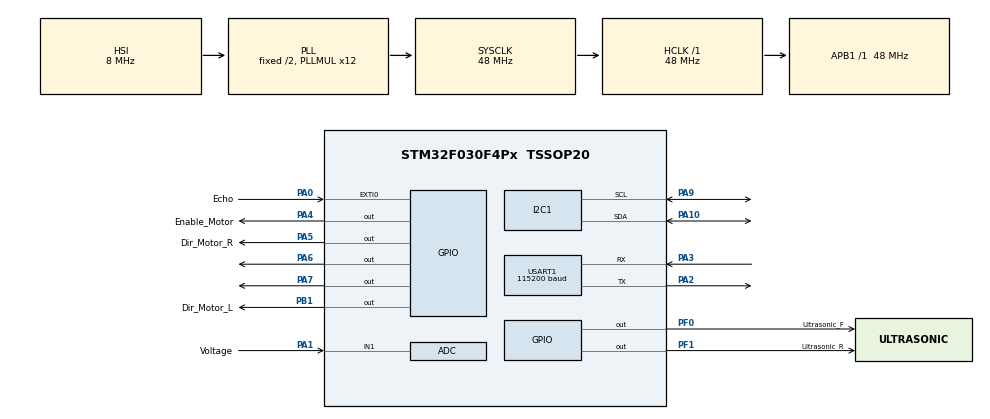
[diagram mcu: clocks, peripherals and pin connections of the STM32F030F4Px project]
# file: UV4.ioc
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ADC.Channel=ADC_CHANNEL_1
ADC.Channel-0\#ChannelRegularConversion=ADC_CHANNEL_1
ADC.DiscontinuousConvMode=ENABLE
I2C1.I2C_Speed_Mode-I2C=I2C_Fast
I2C1.OwnAddress=0x00
I2C1.Timing-I2C=0x0000020B
Mcu.Family=STM32F0
Mcu.Name=STM32F030F4Px
Mcu.Package=TSSOP20
NVIC.EXTI0_1_IRQn=true\:0\:0\:false
NVIC.TIM14_IRQn=true\:1\:0\:true
NVIC.TIM16_IRQn=true\:2\:0\:true
NVIC.TIM3_IRQn=true\:1\:0\:true
NVIC.USART1_IRQn=true\:1\:0\:true
PA0.GPIO_Label=Echo
PA0.GPIO_ModeDefaultEXTI=GPIO_MODE_IT_RISING_FALLING
PA0.GPIO_PuPd=GPIO_NOPULL
PA0.Signal=GPXTI0
PA1.GPIO_Label=Voltage
PA1.GPIO_Mode=GPIO_MODE_ANALOG
PA1.GPIO_PuPd=GPIO_NOPULL
PA1.Mode=IN1
PA1.Signal=ADC_IN1
PA10.Mode=I2C
PA10.Signal=I2C1_SDA
PA13.Mode=Serial-WireDebug
PA13.Signal=SYS_SWDIO
PA14.Mode=Serial-WireDebug
PA14.Signal=SYS_SWCLK
PA2.Mode=Asynchronous
PA2.Signal=USART1_TX
PA3.Mode=Asynchronous
PA3.Signal=USART1_RX
PA4.GPIO_Label=Enable_Motor
PA4.GPIO_ModeDefaultOutputPP=GPIO_MODE_OUTPUT_PP
PA4.GPIO_PuPd=GPIO_NOPULL
PA4.GPIO_Speed=GPIO_SPEED_LOW
PA4.Signal=GPIO_Output
PA5.GPIO_Label=Dir_Motor_R
PA5.GPIO_ModeDefaultOutputPP=GPIO_MODE_OUTPUT_PP
PA5.GPIO_PuPd=GPIO_NOPULL
PA5.GPIO_Speed=GPIO_SPEED_LOW
PA5.Signal=GPIO_Output
PA6.Signal=GPIO_Output
PA7.Signal=GPIO_Output
PA9.Mode=I2C
PA9.Signal=I2C1_SCL
PB1.GPIO_Label=Dir_Motor_L
PB1.GPIO_ModeDefaultOutputPP=GPIO_MODE_OUTPUT_PP
PB1.GPIO_PuPd=GPIO_NOPULL
PB1.GPIO_Speed=GPIO_SPEED_LOW
PB1.Signal=GPIO_Output
PF0-OSC_IN.GPIO_Label=Ultrasonic_F
PF0-OSC_IN.GPIO_ModeDefaultOutputPP=GPIO_MODE_OUTPUT_PP
PF0-OSC_IN.GPIO_PuPd=GPIO_NOPULL
PF0-OSC_IN.GPIO_Speed=GPIO_SPEED_LOW
PF0-OSC_IN.Signal=GPIO_Output
PF1-OSC_OUT.GPIO_Label=Ultrasonic_R
PF1-OSC_OUT.GPIO_ModeDefaultOutputPP=GPIO_MODE_OUTPUT_PP
PF1-OSC_OUT.GPIO_PuPd=GPIO_NOPULL
PF1-OSC_OUT.GPIO_Speed=GPIO_SPEED_LOW
PF1-OSC_OUT.Signal=GPIO_Output
ProjectManager.TargetToolchain=MDK-ARM 4.73
RCC.AHBFreq_Value=48000000
RCC.APB1Freq_Value=48000000
RCC.APB1TimFreq_Value=48000000
RCC.HCLKFreq_Value=48000000
RCC.PLLMUL=RCC_PLL_MUL12
RCC.SYSCLKFreq_VALUE=48000000
RCC.SYSCLKSource=RCC_SYSCLKSOURCE_PLLCLK
RCC.Usart1ClockSelection=RCC_USART1CLKSOURCE_HSI
TIM14.Period=65535
TIM14.Prescaler=239
TIM14.Pulse-PWM\ Generation1\ CH1=1001
TIM16.Period=499
TIM16.Prescaler=479
TIM17.Period=0xffff
TIM17.Prescaler=47
TIM3.Period=65535
TIM3.Prescaler=239
USART1.BaudRate=115200
VP_ADC_TempSens_Input.Mode=IN-TempSens
VP_TIM14_VS_ClockSourceINT.Mode=Enable_Timer
VP_TIM16_VS_ClockSourceINT.Mode=Enable_Timer
VP_TIM17_VS_ClockSourceINT.Mode=Enable_Timer
VP_TIM3_VS_OPM.Mode=OPM_bit

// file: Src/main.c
/**
  ******************************************************************************
  * File Name          : main.c
  * Date               : 11/01/2015 03:58:20
  * Description        : Main program body
  ******************************************************************************
  *
  * COPYRIGHT(c) 2015 STMicroelectronics
  *
  * Redistribution and use in source and binary forms, with or without modification,
  * are permitted provided that the following conditions are met:
  *   1. Redistributions of source code must retain the above copyright notice,
  *      this list of conditions and the following disclaimer.
  *   2. Redistributions in binary form must reproduce the above copyright notice,
  *      this list of conditions and the following disclaimer in the documentation
  *      and/or other materials provided with the distribution.
  *   3. Neither the name of STMicroelectronics nor the names of its contributors
  *      may be used to endorse or promote products derived from this software
  *      without specific prior written permission.
  *
  * THIS SOFTWARE IS PROVIDED BY THE COPYRIGHT HOLDERS AND CONTRIBUTORS "AS IS"
  * AND ANY EXPRESS OR IMPLIED WARRANTIES, INCLUDING, BUT NOT LIMITED TO, THE
  * IMPLIED WARRANTIES OF MERCHANTABILITY AND FITNESS FOR A PARTICULAR PURPOSE ARE
  * DISCLAIMED. IN NO EVENT SHALL THE COPYRIGHT HOLDER OR CONTRIBUTORS BE LIABLE
  * FOR ANY DIRECT, INDIRECT, INCIDENTAL, SPECIAL, EXEMPLARY, OR CONSEQUENTIAL
  * DAMAGES (INCLUDING, BUT NOT LIMITED TO, PROCUREMENT OF SUBSTITUTE GOODS OR
  * SERVICES; LOSS OF USE, DATA, OR PROFITS; OR BUSINESS INTERRUPTION) HOWEVER
  * CAUSED AND ON ANY THEORY OF LIABILITY, WHETHER IN CONTRACT, STRICT LIABILITY,
  * OR TORT (INCLUDING NEGLIGENCE OR OTHERWISE) ARISING IN ANY WAY OUT OF THE USE
  * OF THIS SOFTWARE, EVEN IF ADVISED OF THE POSSIBILITY OF SUCH DAMAGE.
  *
  ******************************************************************************
  */

#include "stm32f0xx_hal.h"

/* USER CODE BEGIN Includes */
#include <stdio.h>
#include "MPU6050.h"
#include <math.h>

#define start_angle                 0.1     // degree
#define limit_angle                 30    // degree
#define limit_speed                 100    // cm/s
#define limit_compensate_angle      15    // degree

#define beta                        0.1f
#define ACCELEROMETER_SENSITIVITY   16384.0f
#define GYROSCOPE_SENSITIVITY       0.007629510948f    // 1/131.07f
#define M_PI                        3.14159265359f

#define clock_cnt                   100000.0f
#define dt                          0.005f
#define sampling                    200

#define inv_cm2pulse                0.006675883837f

#define data2voltage                0.00332992f
#define deg2rad                     0.0174532925f
#define rad2deg                     57.29577951f
#define gx_diff                     34    // x axis gyro diff
#define gy_diff                     41    // y axis gyro diff
#define gz_diff                     156   // z axis gyro diff

/* USER CODE END Includes */

ADC_HandleTypeDef hadc;

I2C_HandleTypeDef hi2c1;

TIM_HandleTypeDef htim3;
TIM_HandleTypeDef htim14;
TIM_HandleTypeDef htim16;
TIM_HandleTypeDef htim17;

UART_HandleTypeDef huart1;

/* USER CODE BEGIN PV */

float debug;

float Battery_voltage = 12;   // assume full battery
float front_distance = 100;   // assume no obstacle
float rear_distance = 100;    // assume no obstacle
uint8_t sr_04_channel = 0;    // 0 = front, 1 = rear
uint8_t echo_status = 0;   // prevent tim17 over flow

int8_t raw_data_uart[10] = {0};
int8_t ch1, ch2, ch3, ch4;
int8_t uart_watchdog = 0;

int16_t AccelGyro[6] = {0};
float q1=1, q2=0, q3=0, q4=0;
float L_R_ref_filted ;

// state//
float angle = 0;
float angle_dot = 0;
float velocity = 0;
float position = 0;

float force = 0;

float ref_angle = 0;
float ref_angle_dot = 0;
float ref_x = 0;
float ref_x_dot = 1;

float L_R_ref = 0;

float lqr_angle = 0;
float lqr_angle_dot = 0;
float lqr_x = 0;
float lqr_x_dot = 0;

float error = 0;
float error_sum = 0;
float kp = 2;
float ki = 0;

//float k1 = 1.1686;  // 2nd version
//float k2 = 1.5301;
//float k3 = 0.1791;
//float k4 = 0.1715;

float  k1 = 1.6227;  // 2nd version
float  k2 = 1.7544;
float  k3 = 0;
float  k4 = 0;

/* USER CODE END PV */

void SystemClock_Config(void);
static void MX_GPIO_Init(void);
static void MX_ADC_Init(void);
static void MX_I2C1_Init(void);
static void MX_TIM3_Init(void);
static void MX_TIM14_Init(void);
static void MX_TIM16_Init(void);
static void MX_TIM17_Init(void);
static void MX_USART1_UART_Init(void);

/* USER CODE BEGIN PFP */

void Initial_MPU6050(void);
void read_mpu6050(void);
void MPU6050_WriteBits(uint8_t slaveAddr, uint8_t regAddr, uint8_t bitStart, uint8_t length, uint8_t data);
void MPU6050_WriteBit(uint8_t slaveAddr, uint8_t regAddr, uint8_t bitNum, uint8_t data);
void MPU6050_ReadBits(uint8_t slaveAddr, uint8_t regAddr, uint8_t bitStart, uint8_t length, uint8_t *data);
void MPU6050_ReadBit(uint8_t slaveAddr, uint8_t regAddr, uint8_t bitNum, uint8_t *data);
void MPU6050_GetRawAccelGyro(int16_t* AccelGyro);
void Ahrs(void);
void A4988_driver_state(FunctionalState tmp);
void A4988_driver_output(float velocity_mL_tmp, float velocity_mR_tmp);
float Smooth_filter(float alfa, float new_data, float prev_data);
void SR_04_measuring(void);
void Mesuaring_batt(void);
void Sampling_isr(void);

void Print_BLE(void);
void Print_Debug(void);

/* USER CODE END PFP */

int main(void)
{

  /* MCU Configuration----------------------------------------------------------*/

  /* Reset of all peripherals, Initializes the Flash interface and the Systick. */
  HAL_Init();

  /* Configure the system clock */
  SystemClock_Config();

  /* Initialize all configured peripherals */
  MX_GPIO_Init();
  MX_ADC_Init();
  MX_I2C1_Init();
  MX_TIM3_Init();
  MX_TIM14_Init();
  MX_TIM16_Init();
  MX_TIM17_Init();
  MX_USART1_UART_Init();

  /* USER CODE BEGIN 2 */

  A4988_driver_state(DISABLE);    // disable step motor driver

  HAL_TIM_Base_Start_IT(&htim3);
  HAL_TIM_Base_Start_IT(&htim14);

  HAL_TIM_Base_Start(&htim17);   // start iuput capture for SR-04 module

  Initial_MPU6050();    // initial mpu6050 with DLPF 98 Hz

  A4988_driver_state(DISABLE);    // disable step motor driver

  /* USER CODE END 2 */

  /* USER CODE BEGIN 3 */

  HAL_TIM_Base_Start_IT(&htim16);   // start controller sampling

  /* Infinite loop */
  while (1)
  {
    SR_04_measuring();    // mesuaring disrance
    Mesuaring_batt();   // mesuaring battary voltage

    if (uart_watchdog != 0)
    {
      lqr_x_dot = (float)ch2 * 0.4f;
      L_R_ref = (float)ch1 * 0.04f;
    }
    else
    {
      lqr_x_dot = 0;
      L_R_ref = 0;
    }

    if (uart_watchdog > 0) uart_watchdog --;
    HAL_UART_Receive_IT(&huart1, (uint8_t *)raw_data_uart, 10);   // receive data
    HAL_Delay(20);    // dely for 50Hz
  }
  /* USER CODE END 3 */

}

/** System Clock Configuration
*/
void SystemClock_Config(void)
{

  RCC_OscInitTypeDef RCC_OscInitStruct;
  RCC_ClkInitTypeDef RCC_ClkInitStruct;
  RCC_PeriphCLKInitTypeDef PeriphClkInit;

  RCC_OscInitStruct.OscillatorType = RCC_OSCILLATORTYPE_HSI|RCC_OSCILLATORTYPE_HSI14;
  RCC_OscInitStruct.HSIState = RCC_HSI_ON;
  RCC_OscInitStruct.HSI14State = RCC_HSI14_ON;
  RCC_OscInitStruct.HSICalibrationValue = 16;
  RCC_OscInitStruct.HSI14CalibrationValue = 16;
  RCC_OscInitStruct.PLL.PLLState = RCC_PLL_ON;
  RCC_OscInitStruct.PLL.PLLSource = RCC_PLLSOURCE_HSI;
  RCC_OscInitStruct.PLL.PLLMUL = RCC_PLL_MUL12;
  RCC_OscInitStruct.PLL.PREDIV = RCC_PREDIV_DIV1;
  HAL_RCC_OscConfig(&RCC_OscInitStruct);

  RCC_ClkInitStruct.ClockType = RCC_CLOCKTYPE_SYSCLK;
  RCC_ClkInitStruct.SYSCLKSource = RCC_SYSCLKSOURCE_PLLCLK;
  RCC_ClkInitStruct.AHBCLKDivider = RCC_SYSCLK_DIV1;
  RCC_ClkInitStruct.APB1CLKDivider = RCC_HCLK_DIV1;
  HAL_RCC_ClockConfig(&RCC_ClkInitStruct, FLASH_LATENCY_1);

  PeriphClkInit.PeriphClockSelection = RCC_PERIPHCLK_USART1|RCC_PERIPHCLK_I2C1;
  PeriphClkInit.Usart1ClockSelection = RCC_USART1CLKSOURCE_HSI;
  PeriphClkInit.I2c1ClockSelection = RCC_I2C1CLKSOURCE_HSI;
  HAL_RCCEx_PeriphCLKConfig(&PeriphClkInit);

  __SYSCFG_CLK_ENABLE();

}

/* ADC init function */
void MX_ADC_Init(void)
{

  ADC_ChannelConfTypeDef sConfig;

    /**Configure the global features of the ADC (Clock, Resolution, Data Alignment and number of conversion)
    */
  hadc.Instance = ADC1;
  hadc.Init.ClockPrescaler = ADC_CLOCK_ASYNC;
  hadc.Init.Resolution = ADC_RESOLUTION12b;
  hadc.Init.DataAlign = ADC_DATAALIGN_RIGHT;
  hadc.Init.ScanConvMode = ADC_SCAN_DIRECTION_FORWARD;
  hadc.Init.EOCSelection = EOC_SINGLE_CONV;
  hadc.Init.LowPowerAutoWait = DISABLE;
  hadc.Init.LowPowerAutoPowerOff = DISABLE;
  hadc.Init.ContinuousConvMode = DISABLE;
  hadc.Init.DiscontinuousConvMode = ENABLE;
  hadc.Init.ExternalTrigConvEdge = ADC_EXTERNALTRIGCONVEDGE_NONE;
  hadc.Init.DMAContinuousRequests = DISABLE;
  hadc.Init.Overrun = OVR_DATA_PRESERVED;
  HAL_ADC_Init(&hadc);

    /**Configure for the selected ADC regular channel to be converted.
    */
  sConfig.Channel = ADC_CHANNEL_1;
  sConfig.Rank = 1;
  sConfig.SamplingTime = ADC_SAMPLETIME_1CYCLE_5;
  HAL_ADC_ConfigChannel(&hadc, &sConfig);

}

/* I2C1 init function */
void MX_I2C1_Init(void)
{

  hi2c1.Instance = I2C1;
  hi2c1.Init.Timing = 0x0000020B;
  hi2c1.Init.OwnAddress1 = 0;
  hi2c1.Init.AddressingMode = I2C_ADDRESSINGMODE_7BIT;
  hi2c1.Init.DualAddressMode = I2C_DUALADDRESS_DISABLED;
  hi2c1.Init.OwnAddress2 = 0;
  hi2c1.Init.OwnAddress2Masks = I2C_OA2_NOMASK;
  hi2c1.Init.GeneralCallMode = I2C_GENERALCALL_DISABLED;
  hi2c1.Init.NoStretchMode = I2C_NOSTRETCH_DISABLED;
  HAL_I2C_Init(&hi2c1);

    /**Configure Analogue filter
    */
  HAL_I2CEx_AnalogFilter_Config(&hi2c1, I2C_ANALOGFILTER_ENABLED);

}

/* TIM3 init function */
void MX_TIM3_Init(void)
{

  htim3.Instance = TIM3;
  htim3.Init.Prescaler = 239;
  htim3.Init.CounterMode = TIM_COUNTERMODE_UP;
  htim3.Init.Period = 65535;
  htim3.Init.ClockDivision = TIM_CLOCKDIVISION_DIV1;
  HAL_TIM_Base_Init(&htim3);

}

/* TIM14 init function */
void MX_TIM14_Init(void)
{

  htim14.Instance = TIM14;
  htim14.Init.Prescaler = 239;
  htim14.Init.CounterMode = TIM_COUNTERMODE_UP;
  htim14.Init.Period = 65535;
  htim14.Init.ClockDivision = TIM_CLOCKDIVISION_DIV1;
  HAL_TIM_Base_Init(&htim14);

}

/* TIM16 init function */
void MX_TIM16_Init(void)
{

  htim16.Instance = TIM16;
  htim16.Init.Prescaler = 479;
  htim16.Init.CounterMode = TIM_COUNTERMODE_UP;
  htim16.Init.Period = 499;
  htim16.Init.ClockDivision = TIM_CLOCKDIVISION_DIV1;
  htim16.Init.RepetitionCounter = 0;
  HAL_TIM_Base_Init(&htim16);

}

/* TIM17 init function */
void MX_TIM17_Init(void)
{

  htim17.Instance = TIM17;
  htim17.Init.Prescaler = 47;
  htim17.Init.CounterMode = TIM_COUNTERMODE_UP;
  htim17.Init.Period = 0xffff;
  htim17.Init.ClockDivision = TIM_CLOCKDIVISION_DIV1;
  htim17.Init.RepetitionCounter = 0;
  HAL_TIM_Base_Init(&htim17);

}

/* USART1 init function */
void MX_USART1_UART_Init(void)
{

  huart1.Instance = USART1;
  huart1.Init.BaudRate = 9600;
  huart1.Init.WordLength = UART_WORDLENGTH_8B;
  huart1.Init.StopBits = UART_STOPBITS_1;
  huart1.Init.Parity = UART_PARITY_NONE;
  huart1.Init.Mode = UART_MODE_TX_RX;
  huart1.Init.HwFlowCtl = UART_HWCONTROL_NONE;
  huart1.Init.OverSampling = UART_OVERSAMPLING_16;
  huart1.Init.OneBitSampling = UART_ONEBIT_SAMPLING_DISABLED ;
  huart1.AdvancedInit.AdvFeatureInit = UART_ADVFEATURE_NO_INIT;
  HAL_UART_Init(&huart1);

}

/** Configure pins as
        * Analog
        * Input
        * Output
        * EVENT_OUT
        * EXTI
*/
void MX_GPIO_Init(void)
{

  GPIO_InitTypeDef GPIO_InitStruct;

  /* GPIO Ports Clock Enable */
  __GPIOF_CLK_ENABLE();
  __GPIOA_CLK_ENABLE();
  __GPIOB_CLK_ENABLE();

  /*Configure GPIO pins : PF0 PF1 */
  GPIO_InitStruct.Pin = GPIO_PIN_0|GPIO_PIN_1;
  GPIO_InitStruct.Mode = GPIO_MODE_OUTPUT_PP;
  GPIO_InitStruct.Pull = GPIO_NOPULL;
  GPIO_InitStruct.Speed = GPIO_SPEED_LOW;
  HAL_GPIO_Init(GPIOF, &GPIO_InitStruct);

  /*Configure GPIO pin : PA0 */
  GPIO_InitStruct.Pin = GPIO_PIN_0;
  GPIO_InitStruct.Mode = GPIO_MODE_IT_RISING_FALLING;
  GPIO_InitStruct.Pull = GPIO_NOPULL;
  HAL_GPIO_Init(GPIOA, &GPIO_InitStruct);

  /*Configure GPIO pins : PA4 PA5 PA6 PA7 */
  GPIO_InitStruct.Pin = GPIO_PIN_4|GPIO_PIN_5|GPIO_PIN_6|GPIO_PIN_7;
  GPIO_InitStruct.Mode = GPIO_MODE_OUTPUT_PP;
  GPIO_InitStruct.Pull = GPIO_NOPULL;
  GPIO_InitStruct.Speed = GPIO_SPEED_LOW;
  HAL_GPIO_Init(GPIOA, &GPIO_InitStruct);

  /*Configure GPIO pin : PB1 */
  GPIO_InitStruct.Pin = GPIO_PIN_1;
  GPIO_InitStruct.Mode = GPIO_MODE_OUTPUT_PP;
  GPIO_InitStruct.Pull = GPIO_NOPULL;
  GPIO_InitStruct.Speed = GPIO_SPEED_LOW;
  HAL_GPIO_Init(GPIOB, &GPIO_InitStruct);

  /* EXTI interrupt init*/
  HAL_NVIC_SetPriority(EXTI0_1_IRQn, 0, 0);
  HAL_NVIC_EnableIRQ(EXTI0_1_IRQn);

}

/* USER CODE BEGIN 4 */

void Initial_MPU6050(void)
{
  HAL_Delay(100); // for stability
  //    Reset to defalt
  MPU6050_WriteBit(MPU6050_DEFAULT_ADDRESS, MPU6050_RA_PWR_MGMT_1, MPU6050_PWR1_DEVICE_RESET_BIT, ENABLE);

  //	  SetClockSource(MPU6050_CLOCK_PLL_XGYRO)
  MPU6050_WriteBits(MPU6050_DEFAULT_ADDRESS, MPU6050_RA_PWR_MGMT_1, MPU6050_PWR1_CLKSEL_BIT, MPU6050_PWR1_CLKSEL_LENGTH, MPU6050_CLOCK_PLL_XGYRO);

  //    SetFullScaleGyroRange(MPU6050_GYRO_FS_250)
  MPU6050_WriteBits(MPU6050_DEFAULT_ADDRESS, MPU6050_RA_GYRO_CONFIG, MPU6050_GCONFIG_FS_SEL_BIT, MPU6050_GCONFIG_FS_SEL_LENGTH, MPU6050_GYRO_FS_250);

  //    SetFullScaleAccelRange(MPU6050_ACCEL_FS_2)
  MPU6050_WriteBits(MPU6050_DEFAULT_ADDRESS, MPU6050_RA_GYRO_CONFIG, MPU6050_GCONFIG_FS_SEL_BIT, MPU6050_GCONFIG_FS_SEL_LENGTH, MPU6050_ACCEL_FS_2);

  //    interupt(Enable)
  MPU6050_WriteBit(MPU6050_DEFAULT_ADDRESS, MPU6050_RA_INT_ENABLE, MPU6050_INTERRUPT_DATA_RDY_BIT, ENABLE);

  //		SetDLPF(MPU6050_DLPF_BW_5)
  MPU6050_WriteBits(MPU6050_DEFAULT_ADDRESS, MPU6050_RA_CONFIG, MPU6050_CFG_DLPF_CFG_BIT, MPU6050_CFG_DLPF_CFG_LENGTH, MPU6050_DLPF_BW_42);

  //    SetSleepModeStatus(DISABLE)
  MPU6050_WriteBit(MPU6050_DEFAULT_ADDRESS, MPU6050_RA_PWR_MGMT_1, MPU6050_PWR1_SLEEP_BIT, DISABLE);
  HAL_Delay(100); // for stability
}

void MPU6050_WriteBits(uint8_t slaveAddr, uint8_t regAddr, uint8_t bitStart, uint8_t length, uint8_t data)
{
    //      010 value to write
    // 76543210 bit numbers
    //    xxx   args: bitStart=4, length=3
    // 00011100 mask byte
    // 10101111 original value (sample)
    // 10100011 original & ~mask
    // 10101011 masked | value
    uint8_t tmp;
		HAL_I2C_Mem_Read(&hi2c1,slaveAddr,regAddr,1,&tmp,1,1);
    uint8_t mask = ((1 << length) - 1) << (bitStart - length + 1);
    data <<= (bitStart - length + 1); // shift data into correct position
    data &= mask; // zero all non-important bits in data
    tmp &= ~(mask); // zero all important bits in existing byte
    tmp |= data; // combine data with existing byte
    HAL_I2C_Mem_Write(&hi2c1,slaveAddr,regAddr,1,&tmp,1,1);
}

void MPU6050_WriteBit(uint8_t slaveAddr, uint8_t regAddr, uint8_t bitNum, uint8_t data)
{
    uint8_t tmp;
		HAL_I2C_Mem_Read(&hi2c1,slaveAddr,regAddr,1,&tmp,1,1);
    tmp = (data != 0) ? (tmp | (1 << bitNum)) : (tmp & ~(1 << bitNum));
    HAL_I2C_Mem_Write(&hi2c1,slaveAddr,regAddr,1,&tmp,1,1);
}

void MPU6050_ReadBits(uint8_t slaveAddr, uint8_t regAddr, uint8_t bitStart, uint8_t length, uint8_t *data)
{
    // 01101001 read byte
    // 76543210 bit numbers
    //    xxx   args: bitStart=4, length=3
    //    010   masked
    //   -> 010 shifted
    uint8_t tmp;
		HAL_I2C_Mem_Read(&hi2c1,slaveAddr,regAddr,1,&tmp,1,1);
    uint8_t mask = ((1 << length) - 1) << (bitStart - length + 1);
    tmp &= mask;
    tmp >>= (bitStart - length + 1);
    *data = tmp;
}

void MPU6050_ReadBit(uint8_t slaveAddr, uint8_t regAddr, uint8_t bitNum, uint8_t *data)
{
    uint8_t tmp;
		HAL_I2C_Mem_Read(&hi2c1,slaveAddr,regAddr,1,&tmp,1,1);
    *data = tmp & (1 << bitNum);
}
void MPU6050_GetRawAccelGyro(int16_t* AccelGyro)
{
    uint8_t tmpBuffer[14];
	  HAL_I2C_Mem_Read(&hi2c1,MPU6050_DEFAULT_ADDRESS,MPU6050_RA_ACCEL_XOUT_H,1,tmpBuffer,14,1);
    /* Get acceleration */
    for (int i = 0; i < 3; i++)
        AccelGyro[i] = ((int16_t) ((uint16_t) tmpBuffer[2 * i] << 8) + tmpBuffer[2 * i + 1]);
    /* Get Angular rate */
    for (int i = 4; i < 7; i++)
        AccelGyro[i - 1] = ((int16_t) ((uint16_t) tmpBuffer[2 * i] << 8) + tmpBuffer[2 * i + 1]);

}

void Ahrs(void)
{
	// quaternion base process

	float Norm;
	float ax = AccelGyro[0];
	float ay = AccelGyro[1];
	float az = AccelGyro[2];
	float gx =((AccelGyro[3]-gx_diff) * GYROSCOPE_SENSITIVITY ) * deg2rad;
	float gy =((AccelGyro[4]-gy_diff) * GYROSCOPE_SENSITIVITY ) * deg2rad;
	float gz =((AccelGyro[5]-gz_diff) * GYROSCOPE_SENSITIVITY ) * deg2rad;

	float q1_dot = 0.5 * (-q2 * gx - q3 * gy - q4 * gz);
	float q2_dot = 0.5 * ( q1 * gx + q3 * gz - q4 * gy);
	float q3_dot = 0.5 * ( q1 * gy - q2 * gz + q4 * gx);
	float q4_dot = 0.5 * ( q1 * gz + q2 * gy - q3 * gx);

	if(!((ax == 0) && (ay == 0) && (az == 0))) {
		// Normalise
		Norm = sqrtf(ax * ax + ay * ay + az * az);
		ax /= Norm;
		ay /= Norm;
		az /= Norm;

		float _2q1 = 2 * q1;
		float _2q2 = 2 * q2;
		float _2q3 = 2 * q3;
		float _2q4 = 2 * q4;
		float _4q1 = 4 * q1;
		float _4q2 = 4 * q2;
		float _4q3 = 4 * q3;
		float _8q2 = 8 * q2;
		float _8q3 = 8 * q3;
		float q1q1 = q1 * q1;
		float q2q2 = q2 * q2;
		float q3q3 = q3 * q3;
		float q4q4 = q4 * q4;
		// Gradient decent
		float s1 = _4q1 * q3q3 + _2q4 * ax + _4q1 * q2q2 - _2q2 * ay;
		float s2 = _4q2 * q4q4 - _2q4 * ax + 4 * q1q1 * q2 - _2q1 * ay - _4q2 + _8q2 * q2q2 + _8q2 * q3q3 + _4q2 * az;
		float s3 = 4 * q1q1 * q3 + _2q1 * ax + _4q3 * q4q4 - _2q4 * ay - _4q3 + _8q3 * q2q2 + _8q3 * q3q3 + _4q3 * az;
		float s4 = 4 * q2q2 * q4 - _2q2 * ax + 4 * q3q3 * q4 - _2q3 * ay;
		// Normalise
		Norm = sqrtf(s1 * s1 + s2 * s2 + s3 * s3 + s4 * s4); // normalise step magnitude
		s1 /= Norm;
		s2 /= Norm;
		s3 /= Norm;
		s4 /= Norm;
		// compensate acc
		q1_dot -= (beta * s1);
		q2_dot -= (beta * s2);
		q3_dot -= (beta * s3);
		q4_dot -= (beta * s4);
	}

  // angular velocity

  angle_dot = asinf(2*(q2_dot*q4_dot - q1_dot*q3_dot)) * rad2deg;   //pitch

	// Integrate
	q1 += q1_dot * dt;
	q2 += q2_dot * dt;
	q3 += q3_dot * dt;
	q4 += q4_dot * dt;

	// Normalise
	Norm = sqrtf(q1 * q1 + q2 * q2 + q3 * q3 + q4 * q4 );
	q1 /= Norm;
	q2 /= Norm;
	q3 /= Norm;
	q4 /= Norm;

	// convert to euler
//  float x=  2*(0.5 - q2*q2 - q3*q3);
//	y_roll =  2*(q3*q4 + q1*q2);
//  q_roll = atan2f(y_roll,x) * rad2deg;  //roll

  angle = asinf(2*(q2*q4 - q1*q3)) * rad2deg;   //pitch
  angle -= 4;

}
void A4988_driver_state(FunctionalState tmp)
{
  if (tmp)
  {
   HAL_GPIO_WritePin(GPIOA, GPIO_PIN_4, GPIO_PIN_RESET);
  }
  else
  {
    HAL_GPIO_WritePin(GPIOA, GPIO_PIN_4, GPIO_PIN_SET);
  }
}
float Smooth_filter(float alfa, float new_data, float prev_data)
{
  float output = prev_data + (alfa * (new_data - prev_data));
  return output;
}

void SR_04_measuring(void)
{
  sr_04_channel = 1 - sr_04_channel;    // switch direction 0front & 1rear

  echo_status = 0;    // Reset echo input capture ready
  __disable_irq();    // disable interrupt 10 uS
  if (sr_04_channel)
    // rear mesauring
    {
      HAL_GPIO_WritePin(GPIOF, GPIO_PIN_1, GPIO_PIN_SET);
    }
    else
    // front mesauring
    {
      HAL_GPIO_WritePin(GPIOF, GPIO_PIN_0, GPIO_PIN_SET);
    }

    uint16_t count_delay = 76;
    while (count_delay > 0) count_delay--;    // dalay 10uS
    HAL_GPIO_WritePin(GPIOF, GPIO_PIN_0 | GPIO_PIN_1, GPIO_PIN_RESET);
    __enable_irq();   // resume interrupt
}

void Mesuaring_batt(void)
{
  HAL_ADC_Start(&hadc);
  float tmp_adc = (float)HAL_ADC_GetValue(&hadc) * data2voltage;
  Battery_voltage = Smooth_filter(0.3f, (float)tmp_adc, Battery_voltage);
}
void HAL_GPIO_EXTI_Callback(uint16_t GPIO_Pin)
{
    if (echo_status)
    {
      float tmp_distance = TIM17->CNT;

      // convert to centimeter
      tmp_distance = tmp_distance / 58.0f;
      if (sr_04_channel)
      {
//        rear_distance = tmp_distance;
        rear_distance = Smooth_filter(0.1f, tmp_distance, rear_distance);
      }
      else
      {
//        front_distance = tmp_distance;
        front_distance = Smooth_filter(0.1f, tmp_distance, front_distance);
      }
    }
    else
    {
      TIM17->CNT = 0;
      echo_status = 1;
    }
}

void A4988_driver_output(float velocity_mL_tmp, float velocity_mR_tmp)
{
  // write direction pin left motor
  if (velocity_mL_tmp > 0)
  {
    HAL_GPIO_WritePin(GPIOA, GPIO_PIN_5, GPIO_PIN_RESET);
  }
  else
  {
    HAL_GPIO_WritePin(GPIOA, GPIO_PIN_5, GPIO_PIN_SET);
    velocity_mL_tmp = -velocity_mL_tmp;
  }

  // write direction pin right motor
  if (velocity_mR_tmp > 0)
  {
    HAL_GPIO_WritePin(GPIOB, GPIO_PIN_1, GPIO_PIN_SET);
  }
  else
  {
    HAL_GPIO_WritePin(GPIOB, GPIO_PIN_1, GPIO_PIN_RESET);
    velocity_mR_tmp = -velocity_mR_tmp;
  }

  // calculate period * 149.7927 pulse / 1 cm *

  float period_L = (float)clock_cnt * (float)inv_cm2pulse / (float)velocity_mL_tmp;
  float period_R = (float)clock_cnt * (float)inv_cm2pulse / (float)velocity_mR_tmp;

  if (period_L > 65535) period_L = 65535;
  if (period_R > 65535) period_R = 65535;

  // Motor L
    TIM14 -> ARR = period_L;
    if ( TIM14 -> CNT > TIM14 -> ARR) TIM14 -> CNT = period_L * 0.5f;   //reset counter register tim14

  // Motor R
    TIM3 -> ARR = period_R;
    if ( TIM3 -> CNT > TIM3 -> ARR) TIM3 -> CNT = period_L * 0.5f;    //reset counter register tim3

}

void Sampling_isr(void)
{
  static int8_t is_1st_start;
  static int8_t loop_count;
  static float velo_from_force;
  static float velocity_mL;
  static float velocity_mR;

  // call at 20 Hz
  if (loop_count <= 2)
  {
    loop_count = 0;

    // PD velocity Control
      error = ref_x_dot - velocity;
      error_sum += error * 0.05;

     // ref_angle = ((error * kp) + (error_sum * ki)) / 20.0f;
  }

  loop_count ++;
  // call at 200 Hz
  MPU6050_GetRawAccelGyro(AccelGyro);
  Ahrs();

  if ((angle < start_angle) && (angle > -start_angle))
  {
    if (!is_1st_start)
    {
      is_1st_start = 1;
      position = 0;
      velocity = 0;
      angle_dot = 0;
      velo_from_force = 0;
      force = 0;
      ref_angle = 0;
      error_sum = 0;
      A4988_driver_state(ENABLE);
    }
  }
  if ((angle > limit_angle) || (angle < -limit_angle) || ((force > 10 || force < -10)  && (lqr_angle_dot < 5 && lqr_angle_dot > -5)))
  {
    is_1st_start = 0;
    A4988_driver_state(DISABLE);
  }
///////////////////////////////////////////////////////////////////////////////////////////////////

  lqr_angle = angle - 5;
  lqr_angle_dot = angle_dot;
  lqr_x = position;
  lqr_x_dot = velocity;

  force = (k1 * lqr_angle) + (k2 * lqr_angle_dot) * dt + (k3 * lqr_x) + (k4 * lqr_x_dot) * dt;

///////////////////////////////////////////////////////////////////////////////////////////////////

  velo_from_force += force ;  // velocity == integreted of force

  if (velo_from_force > limit_speed) velo_from_force = limit_speed;
  if (velo_from_force < -limit_speed) velo_from_force = -limit_speed;

  velocity = velo_from_force;
  position +=  velocity * dt;
  velocity_mL = velocity;
  velocity_mR = velocity;

  if (velocity < -5 || velocity > 5)
  {
    L_R_ref_filted = Smooth_filter(0.005, L_R_ref, L_R_ref_filted);
  }
  else
  {
    L_R_ref_filted = Smooth_filter(0.05, 0, L_R_ref_filted);
  }

  velocity_mL = velocity - L_R_ref_filted;
  velocity_mR = velocity + L_R_ref_filted;
  // 10v cut low voltage battery

  if (Battery_voltage < 10) A4988_driver_state(DISABLE);

  A4988_driver_output(velocity_mL, velocity_mR);

// Print_Debug();

  ////////////////////////////////////
  /*======================================================================================================*/
}

void HAL_UART_RxCpltCallback(UART_HandleTypeDef *huart)
{
  int8_t i=0;
  while(raw_data_uart[i++] != 125 )
  {
    if (i>5)
    {
      return;
    }
  }

  ch1 = raw_data_uart[i];
  i++ ;
  ch2 = raw_data_uart[i];
  i++ ;
  ch3 = raw_data_uart[i];
  i++ ;
  ch4 = raw_data_uart[i];

  uart_watchdog = 25;     // Reset watchdog timer
}

void Print_BLE(void)
{

}

void Print_Debug(void)
{
  uint8_t header[2] = {0x7e, 0x7e};
  uint8_t terminator[2] = {0xe7, 0xe7};

  HAL_UART_Transmit(&huart1, header, 2, 1);    // sent header
  HAL_UART_Transmit(&huart1, (uint8_t *)&force, 4, 1);
  HAL_UART_Transmit(&huart1, (uint8_t *)&angle, 4, 1);
  HAL_UART_Transmit(&huart1, (uint8_t *)&position, 4, 1);
  HAL_UART_Transmit(&huart1, terminator, 2, 1);    // sent header
}

/* USER CODE END 4 */

/************************ (C) COPYRIGHT STMicroelectronics *****END OF FILE****/
